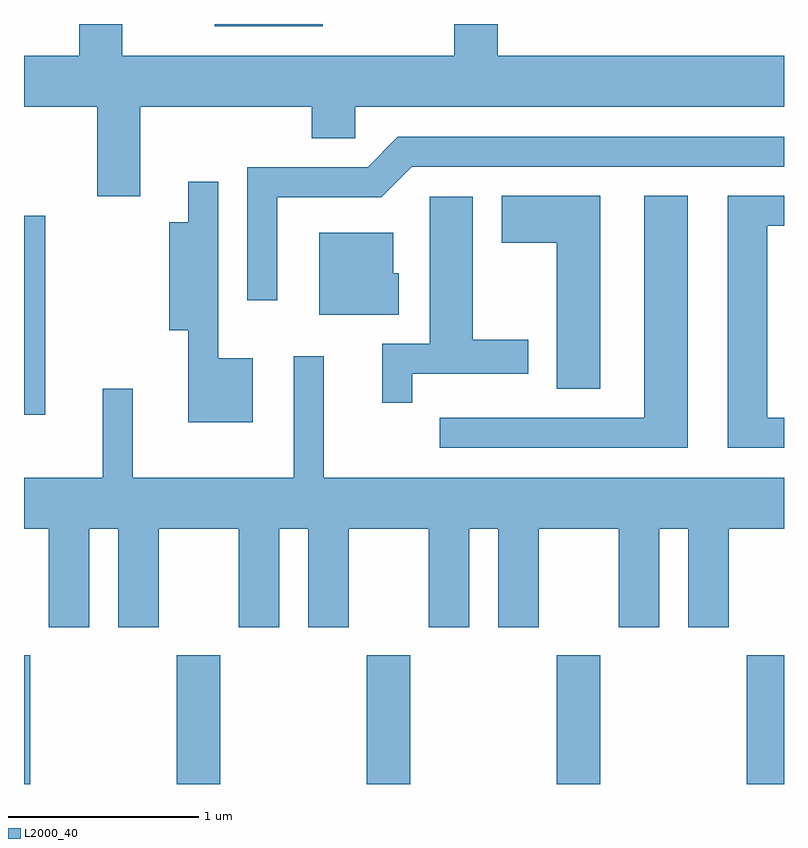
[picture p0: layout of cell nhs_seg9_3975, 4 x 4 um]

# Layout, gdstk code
import gdstk
lib = gdstk.Library(unit=1e-6, precision=1e-09)
def R(c, l, rs):  # rectangles x0, y0, x1, y1
    for r in rs: c.add(gdstk.rectangle(r[:2], r[2:], *l))
def A(c, l, x, y, w, h, nx, ny, dx, dy):  # array of equal rectangles
    R(c, l, [(x+i*dx, y+j*dy, x+i*dx+w, y+j*dy+h) for i in range(nx) for j in range(ny)])
def P(c, l, *ps):  # polygons
    for p in ps: c.add(gdstk.Polygon(p, *l))
L2000_40 = (2000, 40)

nhs_seg9_3975 = lib.new_cell('nhs_seg9_3975')
A(nhs_seg9_3975, L2000_40, 302.416, 2030.432, 0.228, 0.677, 3, 1, 1, 0)
R(nhs_seg9_3975, L2000_40, [(301.611,2030.432,301.644,2031.109), (305.416,2030.432,305.611,2031.109), (301.611,2032.376,301.724,2033.424), (302.616,2034.421,303.184,2034.432)])
P(nhs_seg9_3975, L2000_40, [(302.224,2033.996),(303.126,2033.996),(303.126,2033.831),(303.354,2033.831),(303.354,2033.996),(305.611,2033.996),(305.611,2034.264),(304.104,2034.264),(304.104,2034.432),(303.876,2034.432),(303.876,2034.264),(302.129,2034.264),(302.129,2034.432),(301.901,2034.432),(301.901,2034.264),(301.611,2034.264),(301.611,2033.996),(301.996,2033.996),(301.996,2033.526),(302.224,2033.526)],
  [(302.944,2033.521),(303.492,2033.521),(303.652,2033.681),(305.611,2033.681),(305.611,2033.839),(303.579,2033.839),(303.419,2033.679),(302.786,2033.679),(302.786,2032.978),(302.944,2032.978)],
  [(302.814,2032.674),(302.634,2032.674),(302.634,2033.603),(302.476,2033.603),(302.476,2033.389),(302.376,2033.389),(302.376,2032.821),(302.476,2032.821),(302.476,2032.336),(302.814,2032.336)],
  [(305.611,2032.359),(305.524,2032.359),(305.524,2033.371),(305.611,2033.371),(305.611,2033.529),(305.316,2033.529),(305.316,2032.201),(305.611,2032.201)],
  [(304.644,2033.529),(304.126,2033.529),(304.126,2033.281),(304.416,2033.281),(304.416,2032.511),(304.644,2032.511)],
  [(305.104,2033.529),(304.876,2033.529),(304.876,2032.359),(303.798,2032.359),(303.798,2032.201),(305.104,2032.201)],
  [(303.654,2032.591),(304.264,2032.591),(304.264,2032.769),(303.974,2032.769),(303.974,2033.524),(303.746,2033.524),(303.746,2032.749),(303.496,2032.749),(303.496,2032.438),(303.654,2032.438)],
  [(303.584,2033.119),(303.554,2033.119),(303.554,2033.334),(303.166,2033.334),(303.166,2032.901),(303.584,2032.901)],
  [(303.189,2032.683),(303.031,2032.683),(303.031,2032.044),(302.184,2032.044),(302.184,2032.513),(302.026,2032.513),(302.026,2032.044),(301.611,2032.044),(301.611,2031.776),(301.741,2031.776),(301.741,2031.256),(301.954,2031.256),(301.954,2031.776),(302.106,2031.776),(302.106,2031.256),(302.319,2031.256),(302.319,2031.776),(302.741,2031.776),(302.741,2031.256),(302.954,2031.256),(302.954,2031.776),(303.106,2031.776),(303.106,2031.256),(303.319,2031.256),(303.319,2031.776),(303.741,2031.776),(303.741,2031.256),(303.954,2031.256),(303.954,2031.776),(304.106,2031.776),(304.106,2031.256),(304.319,2031.256),(304.319,2031.776),(304.741,2031.776),(304.741,2031.256),(304.954,2031.256),(304.954,2031.776),(305.106,2031.776),(305.106,2031.256),(305.319,2031.256),(305.319,2031.776),(305.611,2031.776),(305.611,2032.044),(303.189,2032.044)])

lib.write_gds('nhs_seg9_3975.gds')
